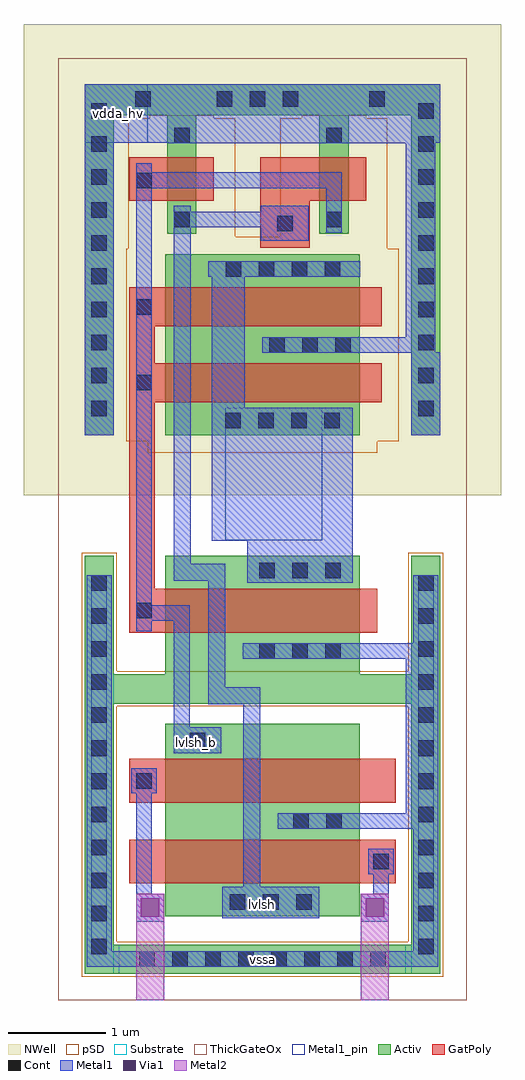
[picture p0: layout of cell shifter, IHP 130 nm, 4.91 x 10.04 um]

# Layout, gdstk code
from math import pi, radians
import gdstk
lib = gdstk.Library(unit=1e-6, precision=1e-09)
def R(c, l, rs):  # rectangles x0, y0, x1, y1
    for r in rs: c.add(gdstk.rectangle(r[:2], r[2:], *l))
def A(c, l, x, y, w, h, nx, ny, dx, dy):  # array of equal rectangles
    R(c, l, [(x+i*dx, y+j*dy, x+i*dx+w, y+j*dy+h) for i in range(nx) for j in range(ny)])
Activ = (1, 0)
GatPoly = (5, 0)
Cont = (6, 0)
Metal1 = (8, 0)
Metal1_pin = (8, 2)
Metal2 = (10, 0)
pSD = (14, 0)
Via1 = (19, 0)
NWell = (31, 0)
Substrate = (40, 0)
ThickGateOx = (44, 0)

ptap1_3 = lib.new_cell('ptap1$3')
R(ptap1_3, Activ, [(0,0,4.3,0.3)])
A(ptap1_3, Cont, 0.2, 0.07, 0.16, 0.16, 12, 1, 0.34, 0)
R(ptap1_3, Metal1, [(0.2,0.02,4.1,0.28), (0.2,0.07,4.1,0.23)])
R(ptap1_3, Metal1_pin, [(0.2,0.07,4.1,0.23)])
R(ptap1_3, pSD, [(-0.03,-0.03,4.33,0.33)])
R(ptap1_3, Substrate, [(0,0,4.3,0.3)])
ptap1_3.add(gdstk.Label('sub!', (2.15,0.01), layer=63, texttype=0))
ptap1_3.add(gdstk.Label('sub!', (2.15,0.01), layer=40, texttype=0))

via_stack = lib.new_cell('via_stack')
R(via_stack, Metal1, [(-0.145,-0.145,0.145,0.145)])
R(via_stack, Metal2, [(-0.145,-0.145,0.145,0.145)])
R(via_stack, Via1, [(-0.095,-0.095,0.095,0.095)])

ptap1_2 = lib.new_cell('ptap1$2')
R(ptap1_2, Activ, [(0,0,0.3,2.955)])
A(ptap1_2, Cont, 0.07, 0.205, 0.16, 0.16, 1, 8, 0, 0.34)
R(ptap1_2, Metal1, [(0.07,0.155,0.23,2.795), (0.07,0.205,0.23,2.745)])
R(ptap1_2, Metal1_pin, [(0.07,0.205,0.23,2.745)])
R(ptap1_2, pSD, [(-0.03,-0.03,0.33,2.985)])
R(ptap1_2, Substrate, [(0,0,0.3,2.955)])
ptap1_2.add(gdstk.Label('sub!', (0.15,0.01), layer=63, texttype=0))
ptap1_2.add(gdstk.Label('sub!', (0.15,0.01), layer=40, texttype=0))

shifter = lib.new_cell('shifter')
R(shifter, Activ, [(0.875,1.76,0.925,2.06), (3.88,1.76,3.935,2.06), (1.405,2.35,3.405,4.33), (0.625,4.54,4.18,4.84), (1.405,4.84,3.405,6.06), (0.575,7.3,0.875,10.59), (1.405,7.3,3.405,9.16), (3.935,7.3,4.235,10.59), (1.425,9.37,1.725,10.59), (2.99,9.37,3.29,10.59), (0.575,10.59,4.235,10.91)])
R(shifter, GatPoly, [(1.035,2.69,3.585,3.14), (3.585,2.69,3.775,3.14), (1.035,3.52,3.585,3.97), (3.585,3.52,3.775,3.97), (1.035,5.27,3.585,5.72), (1.035,5.72,1.295,7.64), (1.035,7.64,3.63,8.04), (1.035,8.04,1.295,8.42), (1.035,8.42,3.63,8.82), (2.38,9.23,2.89,9.71), (1.035,9.71,1.905,10.16), (2.38,9.71,3.47,10.16)])
A(shifter, Cont, 2.07, 2.42, 0.16, 0.16, 3, 1, 0.34, 0)
A(shifter, Cont, 2.37, 5, 0.16, 0.16, 3, 2, 0.34, 0.83)
A(shifter, Cont, 2.02, 7.37, 0.16, 0.16, 4, 1, 0.34, 0)
A(shifter, Cont, 0.645, 7.495, 0.16, 0.16, 1, 10, 0, 0.34)
A(shifter, Cont, 4.005, 7.495, 0.16, 0.16, 1, 10, 0, 0.34)
A(shifter, Cont, 2.475, 8.15, 0.16, 0.16, 3, 1, 0.34, 0)
A(shifter, Cont, 2.025, 8.93, 0.16, 0.16, 4, 1, 0.34, 0)
A(shifter, Cont, 1.935, 10.68, 0.16, 0.16, 3, 1, 0.34, 0)
R(shifter, Cont, [(3.545,2.835,3.705,2.995), (2.72,3.25,2.88,3.41), (3.06,3.25,3.22,3.41), (1.105,3.665,1.265,3.825), (1.655,4.08,1.815,4.24), (1.105,5.415,1.265,5.575), (1.105,7.76,1.265,7.92), (1.105,8.54,1.265,8.7), (2.555,9.4,2.715,9.56), (1.495,9.44,1.655,9.6), (3.06,9.44,3.22,9.6), (1.105,9.84,1.265,10), (1.495,10.305,1.655,10.465), (3.06,10.305,3.22,10.465), (1.095,10.68,1.255,10.84), (3.505,10.68,3.665,10.84)])
R(shifter, Metal1, [(0.595,1.83,1.085,1.99), (3.725,1.83,4.215,1.99), (1.99,2.33,2.99,2.655), (2.205,2.655,2.38,4.53), (3.495,2.785,3.755,3.045), (2.56,3.25,4.18,3.41), (3.88,3.41,4.18,5), (1.055,3.615,1.315,3.875), (1.49,4.03,1.98,4.295), (1.49,4.295,1.655,5.39), (1.845,4.53,2.38,4.705), (1.845,4.705,2.02,5.805), (2.2,5,4.18,5.16), (1.105,5.285,1.265,5.39), (1.105,5.39,1.655,5.55), (1.105,5.55,1.265,9.84), (2.25,5.78,3.335,6.215), (1.49,5.805,2.02,5.98), (1.49,5.98,1.665,9.44), (1.885,6.215,3.335,7.58), (0.575,7.3,0.875,10.31), (3.935,7.3,4.235,8.155), (1.885,7.58,2.22,8.93), (2.4,8.15,4.18,8.31), (3.88,8.31,4.18,10.305), (1.845,8.93,3.41,9.09), (2.385,9.3,2.88,9.44), (3.06,9.385,3.22,9.84), (1.49,9.44,2.88,9.6), (1.49,9.6,1.665,9.66), (2.385,9.6,2.88,9.66), (1.105,9.84,3.22,10.005), (1.105,10.005,1.265,10.1), (1.445,10.305,4.18,10.31), (0.575,10.31,4.235,10.91)])
R(shifter, Metal1_pin, [(2.257,1.83,2.547,1.99), (2.02,6.22,3.02,7.58), (0.575,10.31,1.225,10.91)])
R(shifter, pSD, [(0.595,4.51,4.21,4.84), (0.595,4.84,1.405,4.87), (1.405,4.84,3.405,4.87), (3.405,4.84,4.21,4.87), (1.225,7.12,3.585,7.24), (1.005,7.24,3.805,9.22), (1.025,9.22,3.69,9.34), (1.025,9.34,2.125,10.56), (2.59,9.34,3.69,10.56), (1.245,10.56,1.905,10.59), (2.81,10.56,3.47,10.59)])
R(shifter, NWell, [(-0.05,6.68,4.86,11.53)])
R(shifter, ThickGateOx, [(0.305,1.49,4.505,2.56), (0.305,2.56,4.505,9.335), (0.305,9.335,4.505,9.43), (0.305,9.43,4.505,10.32), (0.305,10.32,4.505,10.415), (0.305,10.415,4.505,11.18)])
shifter.add(gdstk.FlexPath([(1.185,3.825),(1.185,2.455)], 0.16, ends="flush", simple_path=True, layer=8, datatype=0))  # Metal1
shifter.add(gdstk.FlexPath([(3.625,2.995),(3.625,2.455)], 0.16, ends="flush", simple_path=True, layer=8, datatype=0))  # Metal1
shifter.add(gdstk.FlexPath([(3.56,2.44),(3.56,1.49)], 0.29, ends="flush", simple_path=True, layer=10, datatype=0))  # Metal2
shifter.add(gdstk.FlexPath([(1.25,2.44),(1.25,1.49)], 0.29, ends="flush", simple_path=True, layer=10, datatype=0))  # Metal2
shifter.add(gdstk.Reference(ptap1_3, (4.235,1.76), rotation=pi/2))
shifter.add(gdstk.Reference(ptap1_3, (0.875,1.76), rotation=pi/2))
shifter.add(gdstk.Reference(via_stack, (1.25,2.44), rotation=pi/2))
shifter.add(gdstk.Reference(via_stack, (3.56,2.44), rotation=pi/2))
shifter.add(gdstk.Reference(ptap1_2, (3.88,1.76), rotation=pi/2))
shifter.add(gdstk.Label('vdda_hv', (0.925,10.61), layer=8, texttype=25))
shifter.add(gdstk.Label('vssa', (2.402,1.91), layer=8, texttype=25))
shifter.add(gdstk.Label('lvlsh', (2.405,2.47), layer=8, texttype=25))
shifter.add(gdstk.Label('lvlsh_b', (1.725,4.135), layer=8, texttype=25))

lib.write_gds('shifter.gds')
